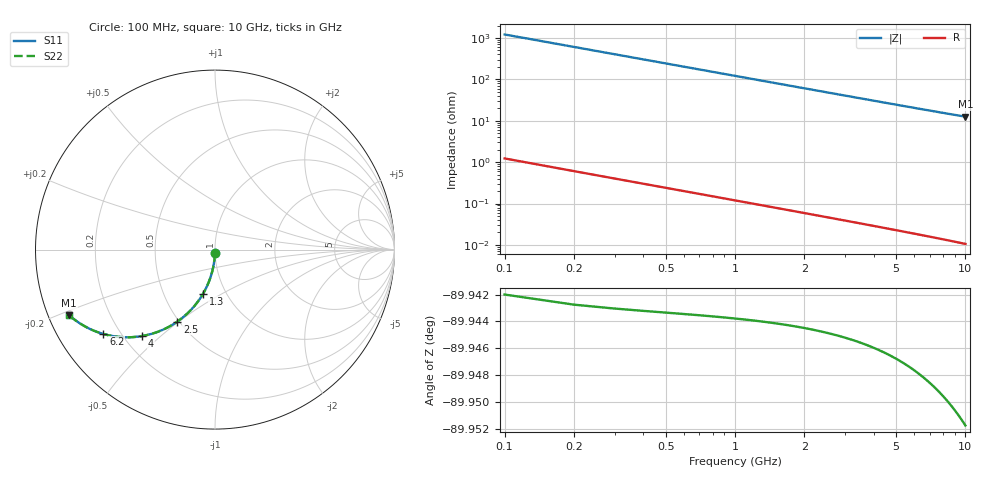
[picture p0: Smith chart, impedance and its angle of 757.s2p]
# Hz S RI R 50.00
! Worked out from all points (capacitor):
!   100 points, 100 MHz to 10 GHz, reference 50 ohm
!   read as one part in shunt: C = 1.31 pF near 100 MHz
!   lowest |Z| = 12.6 ohm at 10 GHz (marker M1)
!   S11 on the Smith chart (normalised r, x): 100 MHz: 1.00, -0.04; 1.3 GHz: 0.78, -0.41; 2.5 GHz: 0.49, -0.49; 4 GHz: 0.27, -0.44; 6.2 GHz: 0.14, -0.33; 10 GHz: 0.06, -0.21
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1e8  -0.000373 -0.0203  0.9995 -0.0208  0.9995 -0.0208  -0.000373 -0.0203
2e8  -0.00166 -0.0406  0.9982 -0.0415  0.9982 -0.0415  -0.00166 -0.0406
3e8  -0.00378 -0.0608  0.9961 -0.0622  0.9961 -0.0622  -0.00378 -0.0608
4e8  -0.00674 -0.0808  0.9931 -0.0826  0.9931 -0.0826  -0.00674 -0.0808
5e8  -0.0105 -0.1006  0.9894 -0.1029  0.9894 -0.1029  -0.0105 -0.1006
6e8  -0.0151 -0.1202  0.9848 -0.1229  0.9848 -0.1229  -0.0151 -0.1202
8e8  -0.0265 -0.1584  0.9734 -0.162  0.9734 -0.162  -0.0265 -0.1584
1e9  -0.0407 -0.1951  0.9591 -0.1996  0.9591 -0.1996  -0.0407 -0.1951
1.3e9  -0.0669 -0.2466  0.9329 -0.2525  0.9329 -0.2525  -0.0669 -0.2466
1.5e9  -0.0872 -0.2783  0.9127 -0.2851  0.9127 -0.2851  -0.0872 -0.2783
1.8e9  -0.1209 -0.3215  0.879 -0.3297  0.879 -0.3297  -0.1209 -0.3215
2.1e9  -0.1576 -0.3592  0.8422 -0.3687  0.8422 -0.3687  -0.1576 -0.3592
2.5e9  -0.2096 -0.4009  0.7902 -0.4123  0.7902 -0.4123  -0.2096 -0.4009
2.9e9  -0.2631 -0.4333  0.7367 -0.4465  0.7367 -0.4465  -0.2631 -0.4333
3.4e9  -0.3293 -0.4617  0.6704 -0.4773  0.6704 -0.4773  -0.3293 -0.4617
4e9  -0.4048 -0.4812  0.5949 -0.4995  0.5949 -0.4995  -0.4048 -0.4812
5.1e9  -0.5256 -0.4871  0.474 -0.5105  0.474 -0.5105  -0.5256 -0.4871
6.2e9  -0.6215 -0.4701  0.3779 -0.4987  0.3779 -0.4987  -0.6215 -0.4701
6.7e9  -0.6576 -0.4584  0.3418 -0.4894  0.3418 -0.4894  -0.6576 -0.4584
7.5e9  -0.707 -0.437  0.2922 -0.4719  0.2922 -0.4719  -0.707 -0.437
8.4e9  -0.7523 -0.4113  0.2468 -0.4505  0.2468 -0.4505  -0.7523 -0.4113
1e10  -0.8125 -0.3657  0.1862 -0.4128  0.1862 -0.4128  -0.8125 -0.3657
